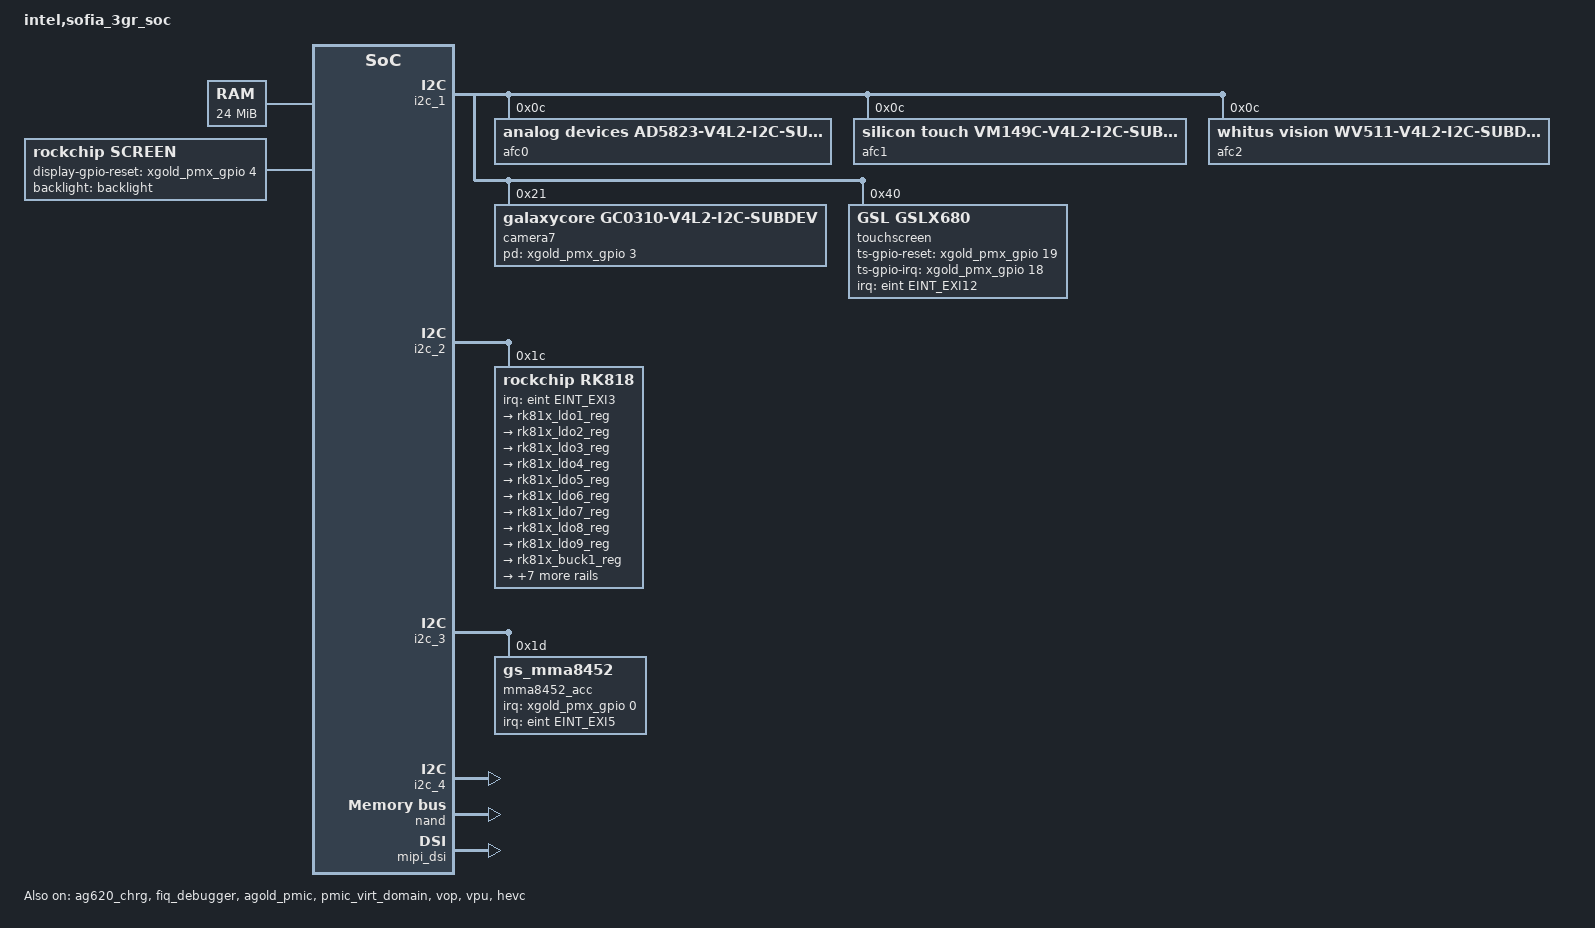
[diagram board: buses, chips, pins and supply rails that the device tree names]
/dts-v1/;


#include "xgold/sofia_3gr_soc/irq.h"
#include <dt-bindings/sensor-dev.h>
#include <dt-bindings/sofiafb/sofia_fb.h>

/ {
	#address-cells = <1>;
	#size-cells = <1>;
	model = "intel,sofia_3gr_soc";
	compatible = "intel,sofia_3gr_soc-svb", "intel,xgold";

	#include "xgold/sofia_3gr_soc/sofia_3gr_soc_wifionly.dtsi"
	#include "xgold/sofia_3gr_soc/irq.dtsi"
	#include "xgold/mobilevisor/mobilevisor.dtsi"
	#include "xgold/sofia_3gr_soc/clock-es1.dtsi"
	#include "xgold/sofia_3gr_soc/regulator.dtsi"
	#include "xgold/sofia_3gr_soc/device-pm-reg.dtsi"
	#include "xgold/sofia_3gr_soc/cpufreq-wifionly.dtsi"
	#include "xgold/pmic/granite.dtsi"
	#include "xgold/pmic/agold_pmic.dtsi"
	#include "xgold/pmic/syr82x.dtsi"
	#include "xgold/pmic/pmic_virt_domain.dtsi"
	chosen {
	};

	aliases {
	};

	memory {
		device_type = "memory";
		reg = <0x800000 0x1800000>;
	};

	reserved-memory {
		#address-cells = <1>;
		#size-cells = <1>;
		ranges;

		/* global autoconfigured region for contiguous allocations */
		cma_default_region: region@0 {
			size = <0x05000000>;
			limit = <0x10000000>;
			linux,cma-default;
		};
	};

	vmodem {
		compatible = "intel,vmodem";
		reg = < 0x1D000000 0x02C00000 >;
	};

	ion {
		compatible = "rockchip,ion";
		#address-cells = <1>;
		#size-cells = <0>;
		cma-heap {
			memory-region = <&cma_default_region>;
			rockchip,ion_heap = <4>;
		};
		system-heap {
			rockchip,ion_heap = <0>;
		};
	};

    backlight:agold620-backlight {
        compatible = "intel,agold620-led";
        reg = <0xE6501800 0x154
               0xE6401134 0x4>;
        reg-names = "pmu-bl", "cgu-bl";
        intel,flags-use-safe-ctrl;
        pm,class-name = "bl_class";
        pm,user-name = "bl";
        pm,state-D0 = "enable";
        pm,state-D3 = "disable";
        intel,run-mode = <1>; //1:free running,2:analog feedback,3,digital control
        intel,led-polarity = <0>; //(free running need)
        intel,led-max-brightness = <140>; //(free running need)
        intel,led-min-brightness = <10>; //(free running need)
        intel,default-brightness-level = <60>;
        intel,ref-voltage = <2>; //0:100mv, 1:150mv, 2:200mv (analog feedback need)
        intel,cabc = <0>; //for all mode

        intel,bl-gpio-enable = <&abb_pmx_gpio 32 0>;
//	 pinctrl-names = "default", "sleep", "inactive";
//	 pinctrl-0 = <&led_agold_default_pins>;
//	 pinctrl-1 = <&led_agold_sleep_pins>;
//	 pinctrl-2 = <&led_agold_inactive_pins>;
     };


	hallsensor {
		compatible = "hall_och165t";
	  	interrupt-parent = <&eint>;
	  	interrupts = <EINT_EXI11 XGOLD_IRQ_TYPE_EDGE_FALLING>;
	  	pinctrl-names = "default", "sleep", "inactive";
	  	pinctrl-0 = <&hall_default_pins>;
	  	pinctrl-1 = <&hall_sleep_pins>;
	  	pinctrl-2 = <&hall_inactive_pins>;
		irq-gpio = <&xgold_pmx_gpio 32 IRQ_TYPE_LEVEL_LOW>;
		status = "disabled";
	};

	fb {
		compatible = "rockchip,fb";
		rockchip,disp-mode = <NO_DUAL>;
		rockchip,loader-logo-on = <1>;
		rockchip,ion-drv = "rockchip";
	};

	loader-charge {
		compatible = "rockchip,loader-charge";
		rockchip,loader-charge-on = <1>;
		rockchip,loader-weak-volt = <3500>;
		rockchip,loader-weak-volt-dcp = <3550>;
		rockchip,loader-weak-volt-sdp = <3600>;
		rockchip,android-charge-on = <1>;
	};

	screen {
		compatible = "rockchip,screen","intel,screen";
		pinctrl-names = "default", "sleep", "inactive";
		pinctrl-0 = <&dif_default_pins>;
		pinctrl-1 = <&dif_inactive_pins>;
		pinctrl-2 = <&dif_sleep_pins>;
		pm,class-name = "generic_class";
		pm,user-name = "lcd";
		pm,state-D0 = "enable";
		pm,state-D3 = "disable";
		backlight = <&backlight>;
		intel,display-gpio-reset = <&xgold_pmx_gpio 4 0>;

		#include "xgold/display/lcd-mipi_kd080d10.dtsi"
	};

	chrg_det: chrg_det {
		compatible = "sofia,chrg_det";
		status = "disabled";
	};
#if 0
	clkout1freq:clkout1freq {
		compatible = "intel,xgold-clk-out1-freq";
		intel,clk_out1_freq = <24000>;
	};
#endif
#ifndef RECOVERY_KERNEL
	sound {
		compatible = "intel,xgold-snd-asoc";
		intel,audio-codec = < &afe >;
		intel,pcm-audio = <&pcm_music>;
		intel,pcm-voice = <&pcm_voice>;
		intel,speech = <&speech_probe>;
		intel,jack = <&headset>;
	};
#endif
};

&pm_spec_pow_ctrl {
	status = "disabled";
	pow_disable_delay_ms = <60000>;
};

&idi_per {
	#include "xgold/agold620/agold620.dtsi"
};

&ag620_chrg {
	status = "okay";
};

&abb_pmx_gpio {
       intel,gpiochip-base = <107>;
};

&usif1 {
	pinctrl-names = "default", "sleep", "inactive";
	pinctrl-0 = <&usif1_default_pins>;
	pinctrl-1 = <&usif1_sleep_pins>;
	pinctrl-2 = <&usif1_inactive_pins>;
	status = "disabled";
		spi_ch37x_hcd {
		compatible = "intel,spi_ch37x_hcd";
		interrupt-parent = <&eint>;
		interrupts = <EINT_EXI7 XGOLD_IRQ_TYPE_LEVEL_HIGH>;
		pinctrl-names = "default", "sleep", "inactive";
		pinctrl-0 = <&eint7_function_C_active_pins>;
		pinctrl-1 = <&eint7_function_C_sleep_pins>;
		pinctrl-2 = <&eint7_function_C_inactive_pins>;
		#size-cells = <1>;
		reg = <0>;
		spi-max-frequency = <1000000>;
		//spi-cpha;
		//spi-cpol;
		poll_mode = <0>;
		type = <0>;
		enable_dma = <0>;

		pm,class-name = "ext_hdmi_class";
		pm,user-name = "ext_hdmi";
		pm,state-D0 = "enable";
		pm,state-D3 = "disable";
	};
};

&usif2 {
	pinctrl-names = "default", "sleep", "inactive";
	pinctrl-0 = <&usif2_default_pins>;
	pinctrl-1 = <&usif2_sleep_pins>;
	pinctrl-2 = <&usif2_inactive_pins>;
	status = "disabled";
};

&fiq_debugger {
	status = "okay";
};

&pwm0 {
	pinctrl-names = "default", "sleep", "inactive";
	pinctrl-0 = <&pwm0_default_pins>;
	pinctrl-1 = <&pwm0_sleep_pins>;
	pinctrl-2 = <&pwm0_inactive_pins>;
	status = "disabled";
};

&i2c_1 {
	status = "okay";
	pinctrl-names = "default", "sleep", "inactive";
	pinctrl-0 = <&i2c1_default_pins>;
	pinctrl-1 = <&i2c1_sleep_pins>;
	pinctrl-2 = <&i2c1_inactive_pins>;

#ifndef RECOVERY_KERNEL
	afc0: af-controller@0 {
		//status = "disabled";
		compatible = "analog devices,ad5823-v4l2-i2c-subdev";
		reg = < 0x0C >;
	};

	afc1: af-controller@1 {
		//status = "disabled";
		compatible = "silicon touch,vm149C-v4l2-i2c-subdev";
		reg = < 0x0c >;
	};

	afc2: af-controller@2 {
		//status = "disabled";
		compatible = "whitus vision,wv511-v4l2-i2c-subdev";
		reg = < 0x0C >;
	};
#endif

#ifndef RECOVERY_KERNEL
	camera0: camera-module@0 {
		status = "disabled";
		compatible = "omnivision,ov13850-v4l2-i2c-subdev";
		reg = < 0x10 >;/*addr is 0x6C when SID set 0,else is 0x20*/ 
		device_type = "v4l2-i2c-subdev";

		pinctrl-names = "default", "sleep", "inactive";
		pinctrl-0 = <&cam1_default_pins>;
		pinctrl-1 = <&cam1_sleep_pins>;
		pinctrl-2 = <&cam1_inactive_pins>;

		intel,pd-gpio = <&xgold_pmx_gpio 14 0>;
		intel,pd-gpio-is_active_high;
		intel,rst-gpio = <&xgold_pmx_gpio 55 0>;
		intel,rst-gpio-is_active_high;
		//intel,pd-gpio_1v2 = <&xgold_pmx_gpio 68 0>;		
		intel,flash-gpio = <&xgold_pmx_gpio 97 0>;
		intel,torch-gpio = <&xgold_pmx_gpio 96 0>;

		pm,class-name = "generic_class";
		pm,user-name = "primcam";
		pm,state-D0 = "enable";
		pm,state-D3 = "disable";


		intel,camera-module-facing = "back";
		intel,camera-module-mounting = "landscape";
		intel,camera-module-flash-support = <1>;
		intel,camera-module-flash-exp-time = <5000>;

		//intel,af-ctrl = <&afc0>;
		intel,camera-module-csi-config-0 {
			intel,csi-pixels-per-second = <0>;
			intel,csi-vc = <0>;
			intel,csi-lanes = <2>;
			intel,csi-dphy1 = <0x2014203>;
			intel,csi-dphy2 = <0x00>;
			intel,csi-ana-bandgap-bias = <3>;
			intel,csi-used = <0>;
		};
		intel,camera-module-csi-config-1 {
			intel,csi-pixels-per-second = <100000000>;
			intel,csi-vc = <0>;
			intel,csi-lanes = <4>;
			intel,csi-dphy1 = <0x600e241>;
			intel,csi-dphy2 = <0x00>;
			intel,csi-ana-bandgap-bias = <3>;
			intel,csi-used = <0>;
		};
	};
#endif

#ifndef RECOVERY_KERNEL
	camera1: camera-module@1 {
		status = "disabled";
		compatible = "omnivision,OV8858-v4l2-i2c-subdev";
		reg = < 0x10 >;/*addr is 0x6C when SID set 0,else is 0x20*/
		device_type = "v4l2-i2c-subdev";

		pinctrl-names = "default", "sleep", "inactive";
		pinctrl-0 = <&cam1_default_pins>;
		pinctrl-1 = <&cam1_sleep_pins>;
		pinctrl-2 = <&cam1_inactive_pins>;

		intel,pd-gpio = <&xgold_pmx_gpio 14 0>;
		intel,pd-gpio-is_active_high;
		intel,rst-gpio = <&xgold_pmx_gpio 55 0>;
		intel,rst-gpio-is_active_high;
		//intel,pd-gpio_1v2 = <&xgold_pmx_gpio 68 0>;		
		//intel,flash-gpio = <&xgold_pmx_gpio 97 0>;
		//intel,torch-gpio = <&xgold_pmx_gpio 96 0>;

		pm,class-name = "generic_class";
		pm,user-name = "primcam";
		pm,state-D0 = "enable";
		pm,state-D3 = "disable";

		intel,camera-module-facing = "back";
		intel,camera-module-mounting = "landscape";
		intel,camera-module-flash-support = <1>;
		intel,camera-module-flash-exp-time = <5000>;
		rockchip,camera-module-name = "cmk-cb0695-fv1";
		rockchip,camera-module-len-name = "lg9569a2";
		
		intel,af-ctrl = <&afc1>;
		intel,camera-module-csi-config-0 {
			intel,csi-pixels-per-second = <0>;
			intel,csi-vc = <0>;
			intel,csi-lanes = <4>;
			intel,csi-dphy1 = <0x610a203>;
			intel,csi-dphy2 = <0x00>;
			intel,csi-ana-bandgap-bias = <3>;
			intel,csi-used = <0>;
		};
	};	
#endif

#ifndef RECOVERY_KERNEL
	camera2: camera-module@2 {
		status = "disabled";
		compatible = "omnivision,OV5648-v4l2-i2c-subdev";
		reg = < 0x36 >;/*addr is 0x6C when SID set 0,else is 0x20*/
		device_type = "v4l2-i2c-subdev";

		pinctrl-names = "default", "sleep", "inactive";
		pinctrl-0 = <&cam1_default_pins>;
		pinctrl-1 = <&cam1_sleep_pins>;
		pinctrl-2 = <&cam1_inactive_pins>;

		intel,pd-gpio = <&xgold_pmx_gpio 14 0>;
		intel,pd-gpio-is_active_high;
		intel,rst-gpio = <&xgold_pmx_gpio 55 0>;
		intel,rst-gpio-is_active_high;
		//intel,pd-gpio_1v2 = <&xgold_pmx_gpio 68 0>;
		//intel,flash-gpio = <&xgold_pmx_gpio 97 0>;
		//intel,torch-gpio = <&xgold_pmx_gpio 96 0>;

		pm,class-name = "generic_class";
		pm,user-name = "primcam";
		pm,state-D0 = "enable";
		pm,state-D3 = "disable";

		intel,camera-module-facing = "back";
		intel,camera-module-mounting = "landscape";
		intel,camera-module-flash-support = <1>;
		intel,camera-module-flash-exp-time = <5000>;
		rockchip,camera-module-name = "cmk-cw2392-fv1";
		rockchip,camera-module-len-name = "m5101";
		
		intel,af-ctrl = <&afc1>;
		intel,camera-module-csi-config-0 {
			intel,csi-pixels-per-second = <0>;
			intel,csi-vc = <0>;
			intel,csi-lanes = <2>;
			intel,csi-dphy1 = <0x6208203>;
			intel,csi-dphy2 = <0x00>;
			intel,csi-ana-bandgap-bias = <3>;
			intel,csi-used = <0>;
		};
	};	
#endif

#ifndef RECOVERY_KERNEL
	camera3: camera-module@3 {
		status = "disabled";
		compatible = "galaxycore,gc2155-v4l2-i2c-subdev";
		reg = < 0x3C >;/*addr is 0x6C when SID set 0,else is 0x20*/ 
		device_type = "v4l2-i2c-subdev";
		pinctrl-names = "default", "sleep", "inactive";
		pinctrl-0 = <&cam1_default_pins>;
		pinctrl-1 = <&cam1_sleep_pins>;
		pinctrl-2 = <&cam1_inactive_pins>;

		intel,pd-gpio = <&xgold_pmx_gpio 14 0>;
		intel,pd-gpio-is_active_low;
		intel,rst-gpio = <&xgold_pmx_gpio 55 0>;
		intel,rst-gpio-is_active_high;
		//intel,pd-gpio_1v2 = <&xgold_pmx_gpio 68>;
		intel,flash-gpio = <&xgold_pmx_gpio 37 0>;
		intel,torch-gpio = <&xgold_pmx_gpio 38 0>;

		pm,class-name = "generic_class";
		pm,user-name = "primcam";
		pm,state-D0 = "enable";
		pm,state-D3 = "disable";

		/* ["front","back"] */
		intel,camera-module-facing = "back";
		/* ["landscape","landscape-flipped","portrait","portrait-flipped"] */
		intel,camera-module-mounting = "landscape";
		intel,camera-module-flash-support = <1>;
		intel,camera-module-flash-exp-time = <5000>;

		intel,camera-module-csi-config-0 {
			intel,csi-pixels-per-second = <0>;
			intel,csi-vc = <0>;
			intel,csi-lanes = <2>;
			intel,csi-dphy1 = <0x2014203>;
			intel,csi-dphy2 = <0x00>;
			intel,csi-ana-bandgap-bias = <3>;
			intel,csi-used = <0>;
		};
		intel,camera-module-csi-config-1 {
			intel,csi-pixels-per-second = <100000000>;
			intel,csi-vc = <0>;
			intel,csi-lanes = <4>;
			intel,csi-dphy1 = <0x600e241>;
			intel,csi-dphy2 = <0x00>;
			intel,csi-ana-bandgap-bias = <3>;
			intel,csi-used = <0>;
		};
	};
#endif

#ifndef RECOVERY_KERNEL
	camera4: camera-module@4 {
		status = "disabled";
		compatible = "superpix,sp2508-v4l2-i2c-subdev";
		reg = < 0x3c >;
		device_type = "v4l2-i2c-subdev";

		pinctrl-names = "default", "sleep", "inactive";
		pinctrl-0 = <&cam1_default_pins>;
		pinctrl-1 = <&cam1_sleep_pins>;
		pinctrl-2 = <&cam1_inactive_pins>;

		intel,pd-gpio = <&xgold_pmx_gpio 14 0>;
		intel,pd-gpio_1v2 = <&xgold_pmx_gpio 68 0>;
		intel,pd-gpio-is_active_low;
		intel,rst-gpio = <&xgold_pmx_gpio 55 0>;
		intel,rst-gpio-is_active_low;
		intel,flash-gpio = <&xgold_pmx_gpio 37 0>;
		intel,torch-gpio = <&xgold_pmx_gpio 38 0>;
		intel.flash-driver = "FP6773C";

		pm,class-name = "generic_class";
		pm,user-name = "primcam";
		pm,state-D0 = "enable";
		pm,state-D3 = "disable";

		/* ["front","back"] */
		intel,camera-module-facing = "back";
		/* ["landscape","landscape-flipped","portrait","portrait-flipped"] */
		intel,camera-module-mounting = "landscape";
		intel,camera-module-flash-support = <1>;
		intel,camera-module-flash-exp-time = <5000>;

		intel,camera-module-csi-config-0 {
			intel,csi-pixels-per-second = <0>;
			intel,csi-vc = <0>;
			intel,csi-lanes = <1>;
			intel,csi-dphy1 = <0x608a241>;
			intel,csi-dphy2 = <0x00>;
			intel,csi-ana-bandgap-bias = <3>;
			intel,csi-used = <0>;
		};
	};
#endif

#ifndef RECOVERY_KERNEL
	camera5: camera-module@5 {
		status = "disabled";
		compatible = "omnivision,ov2680-v4l2-i2c-subdev";
		reg = < 0x36 >;/*addr is 0x6C when SID set 0,else is 0x20*/
		device_type = "v4l2-i2c-subdev";

		pinctrl-names = "default", "sleep", "inactive";
		pinctrl-0 = <&cam2_default_pins>;
		pinctrl-1 = <&cam2_sleep_pins>;
		pinctrl-2 = <&cam2_inactive_pins>;

		intel,pd-gpio = <&xgold_pmx_gpio 15 0>;
		intel,pd-gpio-is_active_high;
		intel,rst-gpio = <&xgold_pmx_gpio 55 0>;
		intel,rst-gpio-is_active_high;	
		//intel,pd-gpio_1v2 = <&xgold_pmx_gpio 68 0>;

		pm,class-name = "generic_class";
		pm,user-name = "seccam";
		pm,state-D0 = "enable";
		pm,state-D3 = "disable";

		intel,camera-module-facing = "front";
		intel,camera-module-mounting = "landscape";
		intel,camera-module-flash-support = <1>;
		intel,camera-module-flash-exp-time = <5000>;
		rockchip,camera-module-name = "cmk-cb0695-fv1";
		rockchip,camera-module-len-name = "cht835b";
		
		intel,camera-module-csi-config-0 {
			intel,csi-pixels-per-second = <0>;
			intel,csi-vc = <0>;
			intel,csi-lanes = <1>;
			intel,csi-dphy1 = <0x6284203>;
			intel,csi-dphy2 = <0x00>;
			intel,csi-ana-bandgap-bias = <3>;
			intel,csi-used = <1>;
		};
	};
#endif

#ifndef RECOVERY_KERNEL
	camera6: camera-module@6 {
		status = "disabled";
		compatible = "galaxycore,gc2355-v4l2-i2c-subdev";
		reg = < 0x3C >;/*addr is 0x6C when SID set 0,else is 0x20*/
		device_type = "v4l2-i2c-subdev";
		pinctrl-names = "default", "sleep", "inactive";
		pinctrl-0 = <&cam2_default_pins>;
		pinctrl-1 = <&cam2_sleep_pins>;
		pinctrl-2 = <&cam2_inactive_pins>;

		intel,pd-gpio = <&xgold_pmx_gpio 15 0>;
		intel,pd-gpio-is_active_low;
		intel,rst-gpio = <&xgold_pmx_gpio 55 0>;
		intel,rst-gpio-is_active_high;
		intel,pd-gpio_1v2 = <&xgold_pmx_gpio 68 0>;
		intel,flash-gpio = <&xgold_pmx_gpio 37 0>;
		intel,torch-gpio = <&xgold_pmx_gpio 38 0>;

		pm,class-name = "generic_class";
		pm,user-name = "seccam";
		pm,state-D0 = "enable";
		pm,state-D3 = "disable";

		/* ["front","back"] */
		intel,camera-module-facing = "front";
		/* ["landscape","landscape-flipped","portrait","portrait-flipped"] */
		intel,camera-module-mounting = "landscape";
		intel,camera-module-flash-support = <1>;
		intel,camera-module-flash-exp-time = <5000>;
		rockchip,camera-module-name = "cmk-cw-2392-fv1";
		rockchip,camera-module-len-name = "m206a-201";		

		intel,camera-module-csi-config-0 {
			intel,csi-pixels-per-second = <0>;
			intel,csi-vc = <0>;
			intel,csi-lanes = <1>;
			intel,csi-dphy1 = <0x6210203>;
			intel,csi-dphy2 = <0x00>;
			intel,csi-ana-bandgap-bias = <3>;
			intel,csi-used = <1>;
		};
	};
#endif

#ifndef RECOVERY_KERNEL
	camera7: camera-module@7 {
		//status = "disabled";
		compatible = "galaxycore,gc0310-v4l2-i2c-subdev";
		reg = < 0x21 >;/* 7bit address*/
		device_type = "v4l2-i2c-subdev";

		pinctrl-names = "default", "sleep", "inactive";
		pinctrl-0 = <&cam1_default_pins>;
		pinctrl-1 = <&cam1_sleep_pins>;
		pinctrl-2 = <&cam1_inactive_pins>;

		intel,pd-gpio = <&xgold_pmx_gpio 3 0>;
		intel,pd-gpio-is_active_low;

		pm,class-name = "generic_class";
		pm,user-name = "seccam";
		pm,state-D0 = "enable";
		pm,state-D3 = "disable";

		intel,camera-module-facing = "front";
		/* ["landscape","landscape-flipped","portrait","portrait-flipped"] */
		intel,camera-module-mounting = "landscape";
		intel,camera-module-flash-support = <1>;
		intel,camera-module-flash-exp-time = <5000>;

		intel,camera-module-csi-config-0 {
			intel,csi-pixels-per-second = <0>;
			intel,csi-vc = <0>;
			intel,csi-lanes = <1>;
			intel,csi-dphy1 = <0x6012229>;
			intel,csi-dphy2 = <0x00>;
			intel,csi-ana-bandgap-bias = <3>;
			intel,csi-used = <1>;
		};
	};
#endif

#ifndef RECOVERY_KERNEL
	camera8: camera-module@8 {
		status = "disabled";
		compatible = "superpix,sp0a20-v4l2-i2c-subdev";
		reg = < 0x21 >;
		device_type = "v4l2-i2c-subdev";

		pinctrl-names = "default", "sleep", "inactive";
		pinctrl-0 = <&cam2_default_pins>;
		pinctrl-1 = <&cam2_sleep_pins>;
		pinctrl-2 = <&cam2_inactive_pins>;

		intel,rst-gpio = <&xgold_pmx_gpio 55 0>;
		intel,rst-gpio-is_active_high;
		intel,pd-gpio = <&xgold_pmx_gpio 15 0>;
		intel,pd-gpio-is_active_low;

		pm,class-name = "generic_class";
		pm,user-name = "seccam";
		pm,state-D0 = "enable";
		pm,state-D3 = "disable";

		intel,camera-module-facing = "front";
		/* ["landscape","landscape-flipped","portrait","portrait-flipped"] */
		intel,camera-module-mounting = "landscape";
		intel,camera-module-flash-support = <1>;
		intel,camera-module-flash-exp-time = <5000>;

		intel,camera-module-csi-config-0 {
			intel,csi-pixels-per-second = <0>;
			intel,csi-vc = <0>;
			intel,csi-lanes = <1>;
			intel,csi-dphy1 = <0x608a241>;
			intel,csi-dphy2 = <0x00>;
			intel,csi-ana-bandgap-bias = <3>;
			intel,csi-used = <1>;
		};
	};
#endif
        touchscreen {
                compatible = "GSL,GSLX680";
                reg = < 0x40 >;
                interrupt-parent = <&eint>;
                interrupts = < EINT_EXI12 XGOLD_IRQ_TYPE_EDGE_FALLING >;
                pinctrl-names = "default", "sleep", "inactive";
                pinctrl-0 = <&touch_mult8_default_pins>;
                pinctrl-1 = <&touch_mult8_sleep_pins>;
                pinctrl-2 = <&touch_mult8_inactive_pins>;
                intel,ts-gpio-reset = <&xgold_pmx_gpio 19 0>;
                intel,ts-gpio-irq = <&xgold_pmx_gpio 18 0>;
                pm,class-name = "gslx680_class";
                pm,user-name = "tp";
                pm,state-D0 = "enable";
                pm,state-D3 = "disable";
                intel,max-x = <1280>;
                intel,max-y = <800>;
                status = "okay";
        };
};

&i2c_2 {
	status = "okay";

	rk818: rk818@1c {
		reg = <0x1c>;
		status = "okay";
		compatible = "rockchip,rk818";
		interrupt-parent = <&eint>;
		interrupts = < EINT_EXI3 XGOLD_IRQ_TYPE_EDGE_FALLING >;
		pinctrl-names = "default", "sleep", "inactive";
		pinctrl-0 = <&pmu_default_pins>;
		pinctrl-1 = <&pmu_sleep_pins>;
		pinctrl-2 = <&pmu_inactive_pins>;
		notify_usb_det = <0>;
		pm,class-name = "generic_class";
		pm,user-name = "rk818_otg";
		pm,state-D0 = "enable";
		pm,state-D3 = "disable";
		regulators {
			rk81x_ldo1_reg: regulator@0 {
				regulator-name = "rk_ldo1";
				regulator-domain = <PMIC_DOMAIN_PMIC_LDO1>;
				regulator-init-pulldown = <PMIC_PULLDOWN_FIXED>;
				regulator-init-mode = <PMIC_MODE_OFF>;
				regulator-init-voltage = <PMIC_VOLTAGE_1V80>;
				regulator-81x-init-mode = <PMIC_MODE_ON>;
				regulator-81x-init-volt = <PMIC_VOLTAGE_1V80>;
				regulator-81x-slp-mode = <PMIC_MODE_ON>;
				regulator-81x-slp-volt = <PMIC_VOLTAGE_1V80>;
			};

			rk81x_ldo2_reg: regulator@1 {
				regulator-name = "rk_ldo2";
				regulator-domain = <PMIC_DOMAIN_PMIC_LDO2>;
				regulator-init-pulldown = <PMIC_PULLDOWN_FIXED>;
				regulator-init-mode = <PMIC_MODE_OFF>;
				regulator-init-voltage = <PMIC_VOLTAGE_2V50>;
				regulator-81x-init-mode = <PMIC_MODE_OFF>;
				regulator-81x-init-volt = <PMIC_VOLTAGE_2V50>;
				regulator-81x-slp-mode = <PMIC_MODE_OFF>;
				regulator-81x-slp-volt = <PMIC_VOLTAGE_2V50>;
			};

			rk81x_ldo3_reg: regulator@2 {
				regulator-name = "rk_ldo3";
				regulator-domain = <PMIC_DOMAIN_PMIC_LDO3>;
				regulator-init-pulldown = <PMIC_PULLDOWN_FIXED>;
				regulator-init-mode = <PMIC_MODE_OFF>;
				regulator-init-voltage = <PMIC_VOLTAGE_1V80>;
				regulator-81x-init-mode = <PMIC_MODE_ON>;
				regulator-81x-init-volt = <PMIC_VOLTAGE_1V80>;
				regulator-81x-slp-mode = <PMIC_MODE_OFF>;
				regulator-81x-slp-volt = <PMIC_VOLTAGE_1V80>;
			};

			rk81x_ldo4_reg: regulator@3 {
				regulator-name = "rk_ldo4";
				regulator-domain = <PMIC_DOMAIN_PMIC_LDO4>;
				regulator-init-pulldown = <PMIC_PULLDOWN_FIXED>;
				regulator-init-mode = <PMIC_MODE_ON>;
				regulator-init-voltage = <PMIC_VOLTAGE_1V80>;
				regulator-81x-init-mode = <PMIC_MODE_ON>;
				regulator-81x-init-volt = <PMIC_VOLTAGE_1V80>;
				regulator-81x-slp-mode = <PMIC_MODE_ON>;
				regulator-81x-slp-volt = <PMIC_VOLTAGE_1V80>;
			};

			rk81x_ldo5_reg: regulator@4 {
				regulator-name = "rk_ldo5";
				regulator-domain = <PMIC_DOMAIN_PMIC_LDO5>;
				regulator-init-pulldown = <PMIC_PULLDOWN_FIXED>;
				regulator-init-mode = <PMIC_MODE_ON>;
				regulator-init-voltage = <PMIC_VOLTAGE_1V80>;
				regulator-81x-init-mode = <PMIC_MODE_ON>;
				regulator-81x-init-volt = <PMIC_VOLTAGE_1V80>;
				regulator-81x-slp-mode = <PMIC_MODE_ON>;
				regulator-81x-slp-volt = <PMIC_VOLTAGE_1V80>;
			};

			rk81x_ldo6_reg: regulator@5 {
				regulator-name = "rk_ldo6";
				regulator-domain = <PMIC_DOMAIN_PMIC_LDO6>;
				regulator-init-pulldown = <PMIC_PULLDOWN_FIXED>;
				regulator-init-mode = <PMIC_MODE_OFF>;
				regulator-init-voltage = <PMIC_VOLTAGE_FIXED>;
				regulator-81x-init-mode = <PMIC_MODE_OFF>;
				regulator-81x-init-volt = <PMIC_VOLTAGE_1V20>;
				regulator-81x-slp-mode = <PMIC_MODE_OFF>;
				regulator-81x-slp-volt = <PMIC_VOLTAGE_1V20>;
			};

			rk81x_ldo7_reg: regulator@6 {
				regulator-name = "rk_ldo7";
				regulator-domain = <PMIC_DOMAIN_PMIC_LDO7>;
				regulator-init-pulldown = <PMIC_PULLDOWN_FIXED>;
				regulator-init-mode = <PMIC_MODE_OFF>;
				regulator-init-voltage = <PMIC_VOLTAGE_FIXED>;
				regulator-81x-init-mode = <PMIC_MODE_ON>;
				regulator-81x-init-volt = <PMIC_VOLTAGE_1V20>;
				regulator-81x-slp-mode = <PMIC_MODE_OFF>;
				regulator-81x-slp-volt = <PMIC_VOLTAGE_1V10>;
			};

			rk81x_ldo8_reg: regulator@7 {
				regulator-name = "rk_ldo8";
				regulator-domain = <PMIC_DOMAIN_PMIC_LDO8>;
				regulator-init-pulldown = <PMIC_PULLDOWN_FIXED>;
				regulator-init-mode = <PMIC_MODE_ON>;
				regulator-init-voltage = <PMIC_VOLTAGE_3V00>;
				regulator-81x-init-mode = <PMIC_MODE_ON>;
				regulator-81x-init-volt = <PMIC_VOLTAGE_3V00>;
				regulator-81x-slp-mode = <PMIC_MODE_OFF>;
				regulator-81x-slp-volt = <PMIC_VOLTAGE_3V00>;
			};

			rk81x_ldo9_reg: regulator@8 {
				regulator-name = "rk_ldo9";
				regulator-domain = <PMIC_DOMAIN_PMIC_LDO9>;
				regulator-init-pulldown = <PMIC_PULLDOWN_FIXED>;
				regulator-init-mode = <PMIC_MODE_OFF>;
				regulator-init-voltage = <PMIC_VOLTAGE_FIXED>;
				regulator-81x-init-mode = <PMIC_MODE_ON>;
				regulator-81x-init-volt = <PMIC_VOLTAGE_1V80>;
				regulator-81x-slp-mode = <PMIC_MODE_OFF>;
				regulator-81x-slp-volt = <PMIC_VOLTAGE_1V80>;
			};

			rk81x_buck1_reg: regulator@9 {
				regulator-name = "rk_buck1";
				regulator-domain = <PMIC_DOMAIN_PMIC_BUCK1>;
				regulator-init-pulldown = <PMIC_PULLDOWN_FIXED>;
				regulator-init-mode = <PMIC_MODE_ON>;
				regulator-init-voltage = <PMIC_VOLTAGE_1V10>;
				regulator-81x-init-mode = <PMIC_MODE_ON>;
				regulator-81x-init-volt = <PMIC_VOLTAGE_1V30>;
				regulator-81x-slp-mode = <PMIC_MODE_ON>;
				regulator-81x-slp-volt = <PMIC_VOLTAGE_0V90>;
			};

			rk81x_buck2_reg: regulator@10 {
				regulator-name = "rk_buck2";
				regulator-domain = <PMIC_DOMAIN_PMIC_BUCK2>;
				regulator-init-pulldown = <PMIC_PULLDOWN_FIXED>;
				regulator-init-mode = <PMIC_MODE_ON>;
				regulator-init-voltage = <PMIC_VOLTAGE_1V10>;
				regulator-81x-init-mode = <PMIC_MODE_ON>;
				regulator-81x-init-volt = <PMIC_VOLTAGE_1V20>;
				regulator-81x-slp-mode = <PMIC_MODE_ON>;
				regulator-81x-slp-volt = <PMIC_VOLTAGE_0V90>;
			};

			rk81x_buck3_reg: regulator@11 {
				regulator-name = "rk_buck3";
				regulator-domain = <PMIC_DOMAIN_PMIC_BUCK3>;
				regulator-init-pulldown = <PMIC_PULLDOWN_FIXED>;
				regulator-init-mode = <PMIC_MODE_OFF>;
				regulator-init-voltage = <PMIC_VOLTAGE_1V20>;
				regulator-81x-init-mode = <PMIC_MODE_ON>;
				regulator-81x-init-volt = <PMIC_VOLTAGE_1V20>;
				regulator-81x-slp-mode = <PMIC_MODE_ON>;
				regulator-81x-slp-volt = <PMIC_VOLTAGE_0V90>;
			};

			rk81x_buck4_reg: regulator@12 {
				regulator-name = "rk_buck4";
				regulator-domain = <PMIC_DOMAIN_PMIC_BUCK4>;
				regulator-init-pulldown = <PMIC_PULLDOWN_FIXED>;
				regulator-init-mode = <PMIC_MODE_OFF>;
				regulator-init-voltage = <PMIC_VOLTAGE_3V00>;
				regulator-81x-init-mode = <PMIC_MODE_ON>;
				regulator-81x-init-volt = <PMIC_VOLTAGE_3V00>;
				regulator-81x-slp-mode = <PMIC_MODE_ON>;
				regulator-81x-slp-volt = <PMIC_VOLTAGE_3V00>;
			};

			rk81x_boost_reg: regulator@13 {
				regulator-name = "rk_boost";
				regulator-domain = <PMIC_DOMAIN_PMIC_BOOST>;
				regulator-init-pulldown = <PMIC_PULLDOWN_FIXED>;
				regulator-init-mode = <PMIC_MODE_OFF>;
				regulator-init-voltage = <PMIC_VOLTAGE_5V00>;
				regulator-81x-init-mode = <PMIC_MODE_ON>;
				regulator-81x-init-volt = <PMIC_VOLTAGE_5V00>;
				regulator-81x-slp-mode = <PMIC_MODE_OFF>;
				regulator-81x-slp-volt = <PMIC_VOLTAGE_5V00>;
			};

			rk81x_vswout_reg: regulator@14 {
				regulator-name = "rk_vswout";
				regulator-domain = <PMIC_DOMAIN_PMIC_VSWOUT>;
				regulator-init-pulldown = <PMIC_PULLDOWN_FIXED>;
				regulator-init-mode = <PMIC_MODE_OFF>;
				regulator-init-voltage = <PMIC_VOLTAGE_3V00>;
				regulator-81x-init-mode = <PMIC_MODE_ON>;
				regulator-81x-init-volt = <PMIC_VOLTAGE_3V00>;
				regulator-81x-slp-mode = <PMIC_MODE_OFF>;
				regulator-slb-dis-on;
			};

			rk81x_h_5v_reg: regulator@15 {
				regulator-name = "rk_h_5v";
				regulator-domain = <PMIC_DOMAIN_H_5V>;
				regulator-81x-init-mode = <PMIC_MODE_OFF>;
				regulator-81x-slp-mode = <PMIC_MODE_OFF>;
			};

			rk81x_otg_reg: regulator@16 {
				regulator-name = "rk_otg";
				regulator-domain = <PMIC_DOMAIN_PMIC_OTG_5V>;
				regulator-81x-init-mode = <PMIC_MODE_OFF>;
				regulator-81x-slp-mode = <PMIC_MODE_OFF>;
			};
		};

		battery {
			ocv_table = <3450 3669 3698 3723 3740 3757 3768
				     3775 3785 3797 3814 3835 3876 3904
				     3931 3960 3992 4029 4068 4110 4165>;
			design_capacity = <2800>;
			design_qmax = <2950>;
			max_overcharge = <100>;
			max_input_currentmA  = <1750>;
			max_chrg_currentmA = <1500>;
			max_charge_voltagemV = <4260>;
			max_bat_voltagemV = <4200>;
			bat_res = <135>;
			sleep_enter_current = <150>;
			sleep_exit_current = <180>;
			power_off_thresd = <3300>;
			chrg_diff_voltagemV = <60>;
			support_usb_adp = <1>;
			virtual_power = <0>;
		};
	};
};

&i2c_3 {
	status = "okay";
	pinctrl-names = "default", "sleep", "inactive";
	pinctrl-0 = <&i2c3_default_pins>;
	pinctrl-1 = <&i2c3_sleep_pins>;
	pinctrl-2 = <&i2c3_inactive_pins>;

	mpu6xxx {
        	compatible = "intel,mpu6xxx";
		status = "disabled";
        	reg = <0x68>;
                interrupt-parent = <&eint>;
                interrupts = < EINT_EXI7 XGOLD_IRQ_TYPE_EDGE_RISING >;
                pinctrl-names = "default", "sleep", "inactive";
                pinctrl-0 = <&gyroscope_default_pins>;
                pinctrl-1 = <&gyroscope_sleep_pins>;
                pinctrl-2 = <&gyroscope_inactive_pins>;
       		mpu-int_config = <0x10>;
       	        mpu-level_shifter = <0>;
        	mpu-orientation = <0 1 0 1 0 0 0 0 1>;
        	orientation-x= <1>;
        	orientation-y= <0>;
        	orientation-z= <0>;
        	irq-gpio = <&xgold_pmx_gpio 5>;
			sec_slave_addr = <0x0d>;
			sec_slave_type = <SECONDARY_SLAVE_TYPE_COMPASS>;
			sec_slave_id = <18>;
			sec_layout = <3>;  //aa 3 -10  			
        	mpu-debug = <1>;
		pm,class-name = "mpu6xxx_class";
		pm,user-name = "gyroscope";
		pm,state-D0 = "enable";
		pm,state-D3 = "disable";
        };

	mma8452_acc {
			compatible = "gs_mma8452";
			reg = <0x1D>;
			type = <SENSOR_TYPE_ACCEL>;
			interrupt-parent = <&eint>;
			interrupts = < EINT_EXI5 XGOLD_IRQ_TYPE_LEVEL_LOW >;
			pinctrl-names = "default", "sleep", "inactive";
			pinctrl-0 = <&accel_default_pins>;
			pinctrl-1 = <&accel_sleep_pins>;
			pinctrl-2 = <&accel_inactive_pins>;
			irq-gpio = <&xgold_pmx_gpio 0 IRQ_TYPE_LEVEL_LOW>;
			irq_enable = <0>;
			poll_delay_ms = <20>;
			layout = <8>;
			pm,class-name = "mma8452_acc_class";
			pm,user-name = "gyroscope";
		};

	ps_tmd2772 {
          	compatible = "freescale,ps_tmd2772";
		status = "disabled";
          	reg = <0x38>;
          	type = <SENSOR_TYPE_PROXIMITY>;
	  	interrupt-parent = <&eint>;
	  	interrupts = < EINT_EXI5 XGOLD_IRQ_TYPE_LEVEL_LOW >;
	  	pinctrl-names = "default", "sleep", "inactive";
	  	pinctrl-0 = <&prox_default_pins>;
	  	pinctrl-1 = <&prox_sleep_pins>;
	  	pinctrl-2 = <&prox_inactive_pins>;           
		irq-gpio = <&xgold_pmx_gpio 0 IRQ_TYPE_LEVEL_LOW>; 
          	irq_enable = <1>;
          	poll_delay_ms = <30>;
          	ps_threshold_low = <70>;
			ps_threshold_high = <120>;
          	layout = <1>;
	  	pm,class-name = "ps_tmd2772_class";
	  	pm,user-name = "gyroscope";
   	};
   	ls_tmd2772 {
          	compatible = "freescale,ls_tmd2772";
		status = "disabled";
          	reg = <0x39>;
          	type = <SENSOR_TYPE_LIGHT>;            
          	irq_enable = <0>;
          	poll_delay_ms = <200>;
          	layout = <1>;
	  	pm,class-name = "ls_tmd2772_class";
	  	pm,user-name = "gyroscope";
   	};

	bq24150a {
                status = "disabled";
                compatible = "ti,bq24150a";
                reg = <0x6a>;
                ti,current-limit = <100>;
                ti,weak-battery-voltage = <3400>;
                ti,battery-regulation-voltage = <4200>;
                ti,charge-current = <650>;
                ti,termination-current = <100>;
                ti,resistor-sense = <68>;

                ti,usb-charger-detection = <&chrg_det>;
        };
};

&i2c_4 {
	status = "okay";
	pinctrl-names = "default", "sleep", "inactive";
	pinctrl-0 = <&i2c4_default_pins>;
	pinctrl-1 = <&i2c4_sleep_pins>;
	pinctrl-2 = <&i2c4_inactive_pins>;
	touchscreen {
		compatible = "GSL,GSLX680";
		reg = < 0x40 >;
		interrupt-parent = <&eint>;
		interrupts = < EINT_EXI0 XGOLD_IRQ_TYPE_EDGE_FALLING >;
		pinctrl-names = "default", "sleep", "inactive";
		pinctrl-0 = <&touch_default_pins>;
		pinctrl-1 = <&touch_sleep_pins>;
		pinctrl-2 = <&touch_inactive_pins>;
		intel,ts-gpio-reset = <&xgold_pmx_gpio 55 0>;
		intel,ts-gpio-irq = <&xgold_pmx_gpio 53 0>;
		pm,class-name = "gslx680_class";
		pm,user-name = "tp";
		pm,state-D0 = "enable";
		pm,state-D3 = "disable";
		intel,max-x = <1280>;
		intel,max-y = <800>;
		status = "disabled";
	};
	it66121 {
		compatible = "ite,cat66121";
		reg = <0x4c>;
		pinctrl-names = "default", "sleep", "inactive", "dif";
		pinctrl-0 = <&hdmi_default_pins>;
		pinctrl-1 = <&hdmi_sleep_pins>;
		pinctrl-2 = <&hdmi_inactive_pins>;
		pinctrl-3 = <&dif_highdrv_pins>;
		status = "disabled";
	};
};

&i2c_5 {
	pinctrl-names = "default", "sleep", "inactive";
	pinctrl-0 = <&i2c5_agold_default_pins>;
	pinctrl-1 = <&i2c5_agold_sleep_pins>;
	pinctrl-2 = <&i2c5_agold_inactive_pins>;

};

&agold_pmic {
	status = "okay";
	regulators {
		agold_lmipi_reg {
			regulator-name = "ag_lmipi";
			regulator-domain = <PMIC_DOMAIN_LMIPI>;
			regulator-init-pulldown = <PMIC_PULLDOWN_EN>;
			regulator-init-mode = <PMIC_MODE_ON>;
			regulator-init-voltage = <PMIC_VOLTAGE_1V17>;
		};
	};
};

&syr82x {
	status = "disabled";
};


&pmic_virt_domain {
	status = "okay";
	virt_domain {
		vddp_mmc_reg {
			virt-domain = <PMIC_VDDP_MMC>;
			pmu-domain = <PMIC_DOMAIN_LMMC1>;
		};

		vddp_mmc_td_reg {
			virt-domain = <PMIC_VDDP_MMC_TD>;
			pmu-domain = <PMIC_DOMAIN_NOTCFG>;
		};

		/* IO power supply, don't switch off,
		 * so map to PMIC_DOMAIN_NOTCFG */
		vdd_vemmc_reg {
			virt-domain = <PMIC_VDD_VEMMC>;
			pmu-domain = <PMIC_DOMAIN_NOTCFG>;
		};

		vdd_sdio_reg {
			virt-domain = <PMIC_VDD_SDIO>;
			pmu-domain = <PMIC_DOMAIN_NOTCFG>;
		};

		vdd_mipi_csi_reg {
			virt-domain = <PMIC_VDD_MIPI_CSI>;
			pmu-domain = <PMIC_DOMAIN_LMIPI>;
		};

		vdd_mipi_dsi_reg {
			virt-domain = <PMIC_VDD_MIPI_DSI>;
			pmu-domain = <PMIC_DOMAIN_NOTCFG>;
		};

		vdd_digrf1_reg {
			virt-domain = <PMIC_VDD_DIGRF1>;
			pmu-domain = <PMIC_DOMAIN_NOTCFG>;
		};

		vdd_usb_1v1_reg {
			virt-domain = <PMIC_VDD_USB_1V1>;
			pmu-domain = <PMIC_DOMAIN_LAIF>;
		};

		vdd_emic_dll_reg {
			virt-domain = <PMIC_VDD_EMIC_DLL>;
			pmu-domain = <PMIC_DOMAIN_PMIC_LDO3>;
		};

		vdd_idi_rx_reg {
			virt-domain = <PMIC_VDD_IDI_RX>;
			pmu-domain = <PMIC_DOMAIN_LAIF>;
		};

		vdd_usb_3v3_reg {
			virt-domain = <PMIC_VDD_USB_3V3>;
			pmu-domain = <PMIC_DOMAIN_LUSB>;
		};

		vddp_sim_reg {
			virt-domain = <PMIC_VDDP_SIM>;
			pmu-domain = <PMIC_DOMAIN_LSIM1>;
		};

		vddp_sim2_reg {
			virt-domain = <PMIC_VDDP_SIM2>;
			pmu-domain = <PMIC_DOMAIN_LSIM2>;
		};

		vdd_io_volt_touch_sensor_reg {
			virt-domain = <PMIC_VDD_IO_VOLT_TOUCH_SENSOR>;
			pmu-domain = <PMIC_DOMAIN_NOTCFG>;
		};

		vdd_cam_prim_analog_reg {
			virt-domain = <PMIC_VDD_CAM_PRIM_ANALOG>;
			pmu-domain = <PMIC_DOMAIN_LAUX1>;
		};

		vdd_cam_sec_analog_reg {
			virt-domain = <PMIC_VDD_CAM_SEC_ANALOG>;
			pmu-domain = <PMIC_DOMAIN_LAUX1>;
		};

		vdd_prim_display_reg {
			virt-domain = <PMIC_VDD_PRIM_DISPLAY>;
			pmu-domain = <PMIC_DOMAIN_PMIC_VSWOUT>;
		};

		vdd_touch_sensor_reg {
			virt-domain = <PMIC_VDD_TOUCH_SENSOR>;
			pmu-domain = <PMIC_DOMAIN_NOTCFG>;
		};

		vdd_proximity_sensor_reg {
			virt-domain = <PMIC_VDD_PROXIMITY_SENSOR>;
			pmu-domain = <PMIC_DOMAIN_LAUX2>;
		};

		vdd_accelerometer_reg {
			virt-domain = <PMIC_VDD_ACCELEROMETER>;
			pmu-domain = <PMIC_DOMAIN_LAUX2>;
		};

		vdd_magnetometer_reg {
			virt-domain = <PMIC_VDD_MAGNETOMETER>;
			pmu-domain = <PMIC_DOMAIN_LAUX2>;
		};

		vdd_gyroscope_reg {
			virt-domain = <PMIC_VDD_GYROSCOPE>;
			pmu-domain = <PMIC_DOMAIN_LAUX2>;
		};

		vdd_abb_gnss_tcxo_ldo_reg {
			virt-domain = <PMIC_VDD_ABB_GNSS_TCXO_LDO>;
			pmu-domain = <PMIC_DOMAIN_GNSS_TCXO_LDO>;
		};

		vddp_vemmc_p_reg {
			virt-domain = <PMIC_VDDP_VEMMC_P>;
			pmu-domain = <PMIC_DOMAIN_NOTCFG>;
		};

		vdd_cam_prim_digital_reg {
			virt-domain = <PMIC_VDD_CAM_PRIM_DIGITAL>;
			pmu-domain = <PMIC_DOMAIN_PMIC_LDO6>;
		};

		vdd_cam_prim_io_reg {
			virt-domain = <PMIC_VDD_CAM_PRIM_IO>;
			pmu-domain = <PMIC_DOMAIN_LAUX2>;
		};

		vdd_cam_prim_af_reg {
			virt-domain = <PMIC_VDD_CAM_PRIM_AF>;
			pmu-domain = <PMIC_DOMAIN_PMIC_LDO6>;
		};

		vdd_cam_sec_digital_reg {
			virt-domain = <PMIC_VDD_CAM_SEC_DIGITAL>;
			pmu-domain = <PMIC_DOMAIN_NOTCFG>;
		};

		vdd_cam_sec_io_reg {
			virt-domain = <PMIC_VDD_CAM_SEC_IO>;
			pmu-domain = <PMIC_DOMAIN_LAUX2>;
		};

		vdd_cam_sec_af_reg {
			virt-domain = <PMIC_VDD_CAM_SEC_AF>;
			pmu-domain = <PMIC_DOMAIN_NOTCFG>;
		};

		vdd_prim_disp_backlight_reg {
			virt-domain = <PMIC_VDD_PRIM_DISP_BACKLIGHT>;
			pmu-domain = <PMIC_DOMAIN_NOTCFG>;
		};

		vdd_sd_card_reg {
			virt-domain = <PMIC_VDD_SD_CARD>;
			pmu-domain = <PMIC_DOMAIN_PMIC_LDO8>;
		};

		vdd_emmc_reg {
			virt-domain = <PMIC_VDD_EMMC>;
			pmu-domain = <PMIC_DOMAIN_PMIC_BUCK4>;
		};

		vdd_vcpu_reg {
			virt-domain = <PMIC_VDD_VCPU>;
			pmu-domain = <PMIC_DOMAIN_PMIC_BUCK1>;
		};

		vdd_lvds_1v8_reg {
			virt-domain = <PMIC_VDD_LVDS_1V8>;
			pmu-domain = <PMIC_DOMAIN_PMIC_LDO9>;
		};

		vdd_h_5v_reg {
			virt-domain = <PMIC_VDD_H_5V>;
			pmu-domain = <PMIC_DOMAIN_PMIC_BOOST>;
		};

		vdd_gpu_reg {
			virt-domain = <PMIC_VDD_GPU>;
			pmu-domain = <PMIC_DOMAIN_PMIC_BUCK2>;
		};

		vdd_lcd_dsi_reg {
			virt-domain = <PMIC_VDD_LCD_DSI>;
			pmu-domain = <PMIC_DOMAIN_NOTCFG>;
		};

		vdd_gps_2v5_reg {
			virt-domain = <PMIC_VDD_GPS_2V5>;
			pmu-domain = <PMIC_DOMAIN_PMIC_LDO2>;
		};

		vdd_dif_lcd_rgb_reg {
			virt-domain = <PMIC_VDD_DIF_LCD_RGB>;
			pmu-domain = <PMIC_DOMAIN_NOTCFG>;
		};

		vdd_otg_5v_reg {
			virt-domain = <PMIC_VDD_OTG_5V>;
			pmu-domain = <PMIC_DOMAIN_PMIC_OTG_5V>;
		};

		vdd_spec_pow_ctrl_1_reg {
			virt-domain = <PMIC_VDD_SPECIAL_POW_1>;
			pmu-domain = <PMIC_DOMAIN_LMIPI>;
		};

		vdd_deprecated_reg {
			virt-domain = <PMIC_VDD_DEPRECATED>;
			pmu-domain = <PMIC_DOMAIN_NOTCFG>;
		};
	};
};

&lemmc {
	regulator-always-on;
};

&gnss {
    pinctrl-names = "default", "sleep", "inactive", "default_lna", "inactive_lna", "default_fta", "inactive_fta", "gnss_default", "gnss_inactive";
    pinctrl-0 = <&tcxo_agold_default_pins>;
    pinctrl-1 = <&tcxo_agold_sleep_pins>;
    pinctrl-2 = <&tcxo_agold_inactive_pins>;
    pinctrl-3 = <&ext_agold_default_pins>;
    pinctrl-4 = <&ext_agold_sleep_pins>;
    pinctrl-5 = <&gnss_agold_default_pins>;
    pinctrl-6 = <&gnss_agold_sleep_pins>;
    pinctrl-7 = <&gnss_default_pins>;
    pinctrl-8 = <&gnss_inactive_pins>;
};

#ifndef RECOVERY_KERNEL
&afe {
	pinctrl-names = "default", "sleep", "inactive";
	pinctrl-0 = <&dm_agold_default_pins>;
	pinctrl-1 = <&dm_agold_sleep_pins>;
	pinctrl-2 = <&dm_agold_inactive_pins>;
};
#endif

&sd {
	intel,tap_values = <0x080400F5 0x08040004 0x00040004 0x08040004 0x5CF501A5 0x00F500A5 0x00F500A5>;
	pinctrl-names = "default", "sleep", "inactive";
	pinctrl-0 = <&sdmmc_default_pins>;
	pinctrl-1 = <&sdmmc_sleep_pins>;
	pinctrl-2 = <&sdmmc_inactive_pins>;
};

&emmc {
	intel,tap_values = <0x080400F5 0x08040004 0x00040004 0x08040004 0x08040004 0x000400B5 0x000400B5>;
	pinctrl-names = "default", "sleep", "inactive";
	pinctrl-0 = <&emmc_default_pins>;
	pinctrl-1 = <&emmc_sleep_pins>;
	pinctrl-2 = <&emmc_inactive_pins>;
	status = "disabled";
};

&nand {
	pinctrl-names = "default", "sleep", "inactive";
	pinctrl-0 = <&nand_function_B_active_pins>;
	pinctrl-1 = <&nand_function_B_sleep_pins>;
	pinctrl-2 = <&nand_function_B_inactive_pins>;
        status = "okay";
};

&keypad {
	pinctrl-names = "default", "sleep", "inactive";
	pinctrl-0 = <&kp_default_pins>;
	pinctrl-1 = <&kp_sleep_pins>;
	pinctrl-2 = <&kp_inactive_pins>;
	keypad,num-rows = <4>;
	keypad,num-columns = <8>;
	keypad,rows = <3>;
	keypad,columns = <3 4>;
	linux,keymap = <0x03030072	/* KEY_VOLUMEDOWN */
			0x03040073>;	/* KEY_VOLUMEUP */

	keypad,kp_in1 = <116>;  /*KEY_POWER*/
	keypad,kp_in3 = <114>;  /*KEY_VOLUMEUP->KEY_VOLUMEDOWN*/
	keypad,kp_in4 = <115>;  /*KEY_VOLUMEDOWN->KEY_VOLUMEUP*/
};

&on_button {
       status = "disabled";
};

&lvds {
	status = "disabled";

	pinctrl-names = "default", "sleep", "inactive";
	pinctrl-0 = <&lvds_default_pins>;
	pinctrl-1 = <&lvds_sleep_pins>;
	pinctrl-2 = <&lvds_inactive_pins>;
};

&mipi_dsi {
	status = "okay";
};

&vop {
	status = "okay";
	rockchip,fb-win-map = <FB_DEFAULT_ORDER>;
	rockchip,iommu-enabled = <1>;
	uhigh_perf_freq = <297000000>;
};

#ifndef RECOVERY_KERNEL
&cif {
	intel,camera-modules-attached = <&camera0 &camera1 &camera2 &camera3 &camera4 &camera5 &camera6 &camera7 &camera8>;
}; /* xuhf@rock-chips.com: modify dts for Compatibling with a variety of cameras */
#endif
#ifndef RECOVERY_KERNEL
&vpu {
	status = "okay";
};
#endif
#ifndef RECOVERY_KERNEL
&hevc {
	status = "okay";
};
#endif
#include "xgold/agold620/pinctrl-ag620-sf_3gr-wifionly.dtsi"
#include "xgold/sofia_3gr_soc/pinctrl-sf_3gr-wifionly.dtsi"
